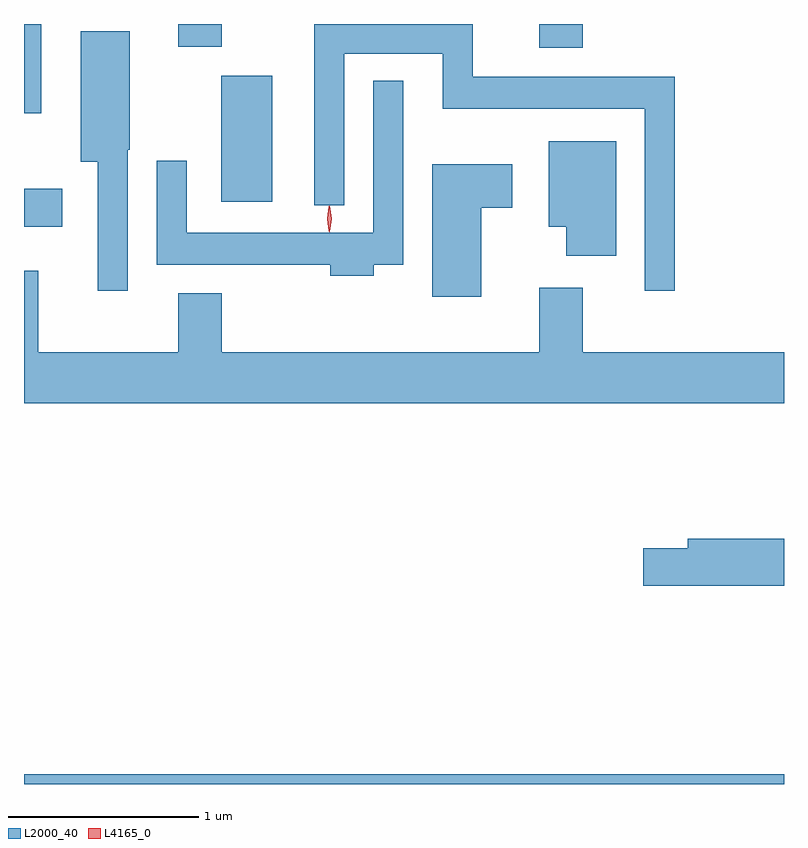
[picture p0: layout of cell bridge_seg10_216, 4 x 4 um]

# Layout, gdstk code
import gdstk
lib = gdstk.Library(unit=1e-6, precision=1e-09)
def R(c, l, rs):  # rectangles x0, y0, x1, y1
    for r in rs: c.add(gdstk.rectangle(r[:2], r[2:], *l))
def P(c, l, *ps):  # polygons
    for p in ps: c.add(gdstk.Polygon(p, *l))
L2000_40 = (2000, 40)
L4165_0 = (4165, 0)

bridge_seg10_216 = lib.new_cell('bridge_seg10_216')
R(bridge_seg10_216, L2000_40, [(1760.088,2083.052,1764.088,2083.104), (1760.088,2085.986,1760.289,2086.184), (1761.126,2086.116,1761.394,2086.779), (1760.088,2086.581,1760.179,2087.052), (1762.801,2086.926,1763.029,2087.052), (1760.901,2086.931,1761.129,2087.052)])
P(bridge_seg10_216, L2000_40, [(1763.514,2086.774),(1762.449,2086.774),(1762.449,2087.052),(1761.616,2087.052),(1761.616,2086.097),(1761.774,2086.097),(1761.774,2086.896),(1762.291,2086.896),(1762.291,2086.606),(1763.356,2086.606),(1763.356,2085.648),(1763.514,2085.648)],
  [(1760.634,2086.39),(1760.644,2086.39),(1760.644,2087.014),(1760.386,2087.014),(1760.386,2086.326),(1760.476,2086.326),(1760.476,2085.648),(1760.634,2085.648)],
  [(1761.929,2085.786),(1762.084,2085.786),(1762.084,2086.753),(1761.926,2086.753),(1761.926,2085.954),(1760.944,2085.954),(1760.944,2086.333),(1760.786,2086.333),(1760.786,2085.786),(1761.701,2085.786),(1761.701,2085.726),(1761.929,2085.726)],
  [(1763.204,2086.434),(1762.851,2086.434),(1762.851,2085.986),(1762.941,2085.986),(1762.941,2085.831),(1763.204,2085.831)],
  [(1762.494,2086.086),(1762.659,2086.086),(1762.659,2086.314),(1762.236,2086.314),(1762.236,2085.616),(1762.494,2085.616)],
  [(1764.088,2085.324),(1763.029,2085.324),(1763.029,2085.664),(1762.801,2085.664),(1762.801,2085.324),(1761.129,2085.324),(1761.129,2085.634),(1760.901,2085.634),(1760.901,2085.324),(1760.164,2085.324),(1760.164,2085.753),(1760.088,2085.753),(1760.088,2085.056),(1764.088,2085.056)],
  [(1764.088,2084.344),(1763.581,2084.344),(1763.581,2084.294),(1763.346,2084.294),(1763.346,2084.096),(1764.088,2084.096)])
P(bridge_seg10_216, L4165_0, [(1761.698,2085.957),(1761.697,2085.958),(1761.688,2086.027),(1761.697,2086.096),(1761.697,2086.096),(1761.698,2086.096),(1761.708,2086.027),(1761.698,2085.958)],
  [(1761.694,2085.959),(1761.693,2085.96),(1761.684,2086.026),(1761.693,2086.092),(1761.694,2086.093),(1761.694,2086.092),(1761.704,2086.026),(1761.694,2085.96)])

lib.write_gds('bridge_seg10_216.gds')
